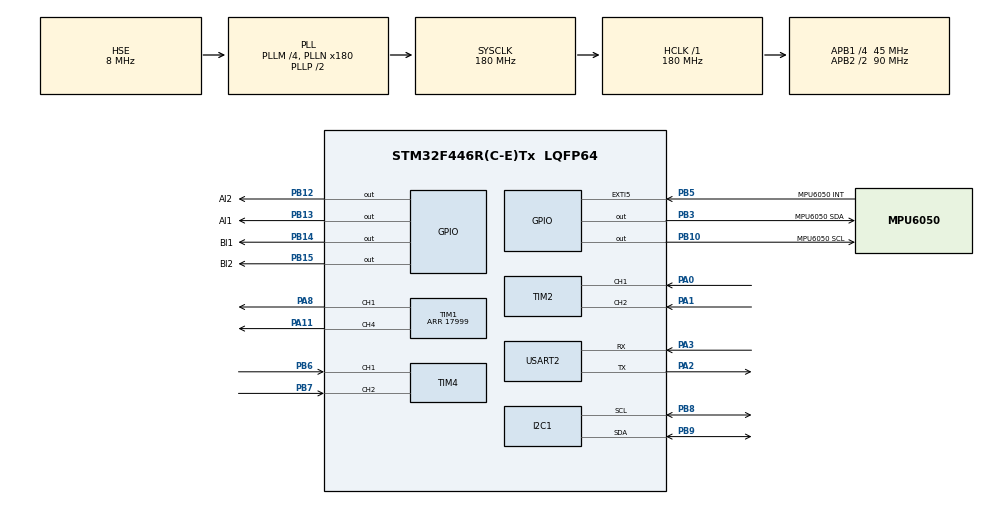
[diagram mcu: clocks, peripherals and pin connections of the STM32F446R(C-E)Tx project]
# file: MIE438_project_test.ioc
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I2C1.I2C_Mode=I2C_Standard
Mcu.Family=STM32F4
Mcu.Name=STM32F446R(C-E)Tx
Mcu.Package=LQFP64
NVIC.EXTI9_5_IRQn=true\:0\:0\:false\:false\:true\:true\:true\:true
NVIC.PriorityGroup=NVIC_PRIORITYGROUP_4
PA0-WKUP.Signal=S_TIM2_CH1_ETR
PA1.Signal=S_TIM2_CH2
PA11.Signal=S_TIM1_CH4
PA13.Mode=Serial_Wire
PA13.Signal=SYS_JTMS-SWDIO
PA14.Mode=Serial_Wire
PA14.Signal=SYS_JTCK-SWCLK
PA2.Mode=Asynchronous
PA2.Signal=USART2_TX
PA3.Mode=Asynchronous
PA3.Signal=USART2_RX
PA8.Signal=S_TIM1_CH1
PB10.GPIO_Label=MPU6050 SCL
PB10.GPIO_ModeDefaultOutputPP=GPIO_MODE_OUTPUT_OD
PB10.GPIO_PuPd=GPIO_PULLUP
PB10.GPIO_Speed=GPIO_SPEED_FREQ_HIGH
PB10.Signal=GPIO_Output
PB12.GPIO_Label=AI2
PB12.Signal=GPIO_Output
PB13.GPIO_Label=AI1
PB13.Signal=GPIO_Output
PB14.GPIO_Label=BI1
PB14.Signal=GPIO_Output
PB15.GPIO_Label=BI2
PB15.Signal=GPIO_Output
PB3.GPIO_Label=MPU6050 SDA
PB3.GPIO_ModeDefaultOutputPP=GPIO_MODE_OUTPUT_OD
PB3.GPIO_PuPd=GPIO_PULLUP
PB3.GPIO_Speed=GPIO_SPEED_FREQ_HIGH
PB3.Signal=GPIO_Output
PB5.GPIO_Label=MPU6050 INT
PB5.GPIO_ModeDefaultEXTI=GPIO_MODE_IT_FALLING
PB5.GPIO_PuPd=GPIO_PULLUP
PB5.Signal=GPXTI5
PB6.Signal=S_TIM4_CH1
PB7.Signal=S_TIM4_CH2
PB8.Mode=I2C
PB8.Signal=I2C1_SCL
PB9.Mode=I2C
PB9.Signal=I2C1_SDA
PH0-OSC_IN.Mode=HSE-External-Clock-Source
PH0-OSC_IN.Signal=RCC_OSC_IN
PH1-OSC_OUT.Mode=HSE-External-Clock-Source
PH1-OSC_OUT.Signal=RCC_OSC_OUT
ProjectManager.HeapSize=0x200
ProjectManager.StackSize=0x400
ProjectManager.TargetToolchain=STM32CubeIDE
RCC.AHBFreq_Value=180000000
RCC.APB1CLKDivider=RCC_HCLK_DIV4
RCC.APB1Freq_Value=45000000
RCC.APB1TimFreq_Value=90000000
RCC.APB2CLKDivider=RCC_HCLK_DIV2
RCC.APB2Freq_Value=90000000
RCC.APB2TimFreq_Value=180000000
RCC.CortexFreq_Value=180000000
RCC.HCLKFreq_Value=180000000
RCC.HSE_VALUE=8000000
RCC.PLLM=4
RCC.PLLN=180
RCC.PLLSourceVirtual=RCC_PLLSOURCE_HSE
RCC.SYSCLKFreq_VALUE=180000000
RCC.SYSCLKSource=RCC_SYSCLKSOURCE_PLLCLK
RCC.USBFreq_Value=180000000
RCC.VCOOutputFreq_Value=360000000
SH.S_TIM1_CH1.0=TIM1_CH1,PWM Generation1 CH1
SH.S_TIM1_CH4.0=TIM1_CH4,PWM Generation4 CH4
SH.S_TIM2_CH1_ETR.0=TIM2_CH1,Encoder_Interface
SH.S_TIM2_CH2.0=TIM2_CH2,Encoder_Interface
SH.S_TIM4_CH1.0=TIM4_CH1,Encoder_Interface
SH.S_TIM4_CH2.0=TIM4_CH2,Encoder_Interface
TIM1.Channel-PWM\ Generation1\ CH1=TIM_CHANNEL_1
TIM1.Channel-PWM\ Generation4\ CH4=TIM_CHANNEL_4
TIM1.Period=17999
TIM1.Pulse-PWM\ Generation1\ CH1=18000
TIM1.Pulse-PWM\ Generation4\ CH4=18000
TIM2.EncoderMode=TIM_ENCODERMODE_TI12
TIM4.EncoderMode=TIM_ENCODERMODE_TI12
USART2.VirtualMode=VM_ASYNC
board=custom

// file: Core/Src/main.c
/* USER CODE BEGIN Header */
/**
  ******************************************************************************
  * @file           : main.c
  * @brief          : Main program body
  ******************************************************************************
  * @attention
  *
  * Copyright (c) 2026 STMicroelectronics.
  * All rights reserved.
  *
  * This software is licensed under terms that can be found in the LICENSE file
  * in the root directory of this software component.
  * If no LICENSE file comes with this software, it is provided AS-IS.
  *
  ******************************************************************************
  */
/* USER CODE END Header */
#include "main.h"

/* USER CODE BEGIN Includes */
#include "motor.h"
#include "pid.h"
#include "encoder.h"
#include <stdio.h>
#include <math.h>

/* USER CODE END Includes */

I2C_HandleTypeDef hi2c1;

TIM_HandleTypeDef htim1;
TIM_HandleTypeDef htim2;
TIM_HandleTypeDef htim4;

UART_HandleTypeDef huart2;

/* USER CODE BEGIN PV */

float pitch, roll, yaw;
/* USER CODE END PV */

void SystemClock_Config(void);
static void MX_GPIO_Init(void);
static void MX_TIM1_Init(void);
static void MX_TIM2_Init(void);
static void MX_TIM4_Init(void);
static void MX_USART2_UART_Init(void);
static void MX_I2C1_Init(void);

/* USER CODE BEGIN 0 */
int __io_putchar(int ch)
{
    HAL_UART_Transmit(&huart2, (uint8_t *)&ch, 1, HAL_MAX_DELAY);
    return ch;
}
/* USER CODE END 0 */

int main(void)
{

  /* MCU Configuration--------------------------------------------------------*/

  /* Reset of all peripherals, Initializes the Flash interface and the Systick. */
  HAL_Init();

  /* Configure the system clock */
  SystemClock_Config();

  /* Initialize all configured peripherals */
  MX_GPIO_Init();
  MX_TIM1_Init();
  MX_TIM2_Init();
  MX_TIM4_Init();
  MX_USART2_UART_Init();
  MX_I2C1_Init();
  /* USER CODE BEGIN 2 */
  /* USER CODE BEGIN 2 */

  printf("System Starting...\r\n");
  printf("PB8(SCL) = %d\r\n", HAL_GPIO_ReadPin(GPIOB, GPIO_PIN_8));
  printf("PB9(SDA) = %d\r\n", HAL_GPIO_ReadPin(GPIOB, GPIO_PIN_9));
  HAL_StatusTypeDef ret68 = HAL_I2C_IsDeviceReady(&hi2c1, (0x68 << 1), 3, 100);
  HAL_StatusTypeDef ret69 = HAL_I2C_IsDeviceReady(&hi2c1, (0x69 << 1), 3, 100);

  printf("0x68 ready status: %d\r\n", ret68);
  printf("0x69 ready status: %d\r\n", ret69);

  printf("start\r\n");

  uint8_t who = 0xFF;
  HAL_StatusTypeDef r1 = HAL_I2C_IsDeviceReady(&hi2c1, (0x68 << 1), 5, 100);
  HAL_StatusTypeDef r2 = HAL_I2C_IsDeviceReady(&hi2c1, (0x69 << 1), 5, 100);
  HAL_StatusTypeDef r3 = HAL_I2C_Mem_Read(&hi2c1, (0x68 << 1), 0x75,
                                          I2C_MEMADD_SIZE_8BIT, &who, 1, 100);

  printf("r1=%d r2=%d r3=%d who=0x%02X\r\n", r1, r2, r3, who);
  if (r3 != HAL_OK) {
      printf("I2C read failed, HAL error = 0x%08lX\r\n", HAL_I2C_GetError(&hi2c1));
  }

  uint8_t wake = 0;
  HAL_I2C_Mem_Write(&hi2c1, MPU_ADDR << 1, MPU_PWR_MGMT_1,
                    I2C_MEMADD_SIZE_8BIT, &wake, 1, 100);

  printf("MPU6050 woke up\r\n");

//  MPU_Init();
//  printf("MPU6050 Basic Init Done.\r\n");
//
//  uint8_t dmp_status = mpu_dmp_init();
//  printf("DMP Init Status: %d\r\n", dmp_status);

  Encoder_Init();
  /* USER CODE END 2 */

  /* Infinite loop */
  /* USER CODE BEGIN WHILE */

  while (1)
  {
      Control();

      static int debug_count = 0;
      debug_count++;

      if (debug_count >= 50)
      {
          debug_count = 0;

          printf("Pitch: %.2f\r\n", pitch);
          printf("Roll : %.2f\r\n", roll);
          printf("GyroY: %d\r\n", gyroy);
          printf("EncL : %d\r\n", Encoder_Left);
          printf("EncR : %d\r\n", Encoder_Right);
          printf("PWM1 : %d\r\n", MOTO1);
          printf("PWM2 : %d\r\n", MOTO2);
          printf("\r\n");
      }

      HAL_Delay(10);
  }

//  while (1)
//  {
//      Control();
//
//      static int debug_count = 0;
//      debug_count++;
//
//      if (debug_count >= 50)   // print every 50 * 10 ms = 500 ms
//      {
//          debug_count = 0;
//
//          int16_t ax = read16(MPU_ACCEL_XOUT_H);
//          int16_t ay = read16(MPU_ACCEL_XOUT_H + 2);
//          int16_t az = read16(MPU_ACCEL_XOUT_H + 4);
//
//          int16_t gx = read16(MPU_GYRO_XOUT_H);
//          int16_t gy = read16(MPU_GYRO_XOUT_H + 2);
//          int16_t gz = read16(MPU_GYRO_XOUT_H + 4);
//
//          float ax_g = ax / 16384.0f;
//          float ay_g = ay / 16384.0f;
//          float az_g = az / 16384.0f;
//
//          roll  = atan2f(ay_g, az_g) * 57.2958f;
//          pitch = atan2f(-ax_g, sqrtf(ay_g * ay_g + az_g * az_g)) * 57.2958f;
//
//          int32_t enc_left  = (int32_t)__HAL_TIM_GET_COUNTER(&htim2);
//          int32_t enc_right = (int32_t)__HAL_TIM_GET_COUNTER(&htim4);
//
//          printf("Accel: %.3f %.3f %.3f\r\n", ax_g, ay_g, az_g);
//          printf("Gyro : %d %d %d\r\n", gx, gy, gz);
//          printf("Roll : %.3f deg\r\n", roll);
//          printf("Pitch: %.3f deg\r\n", pitch);
//          printf("Encoder Left (TIM2) : %ld\r\n", enc_left);
//          printf("Encoder Right(TIM4) : %ld\r\n", enc_right);
//          printf("\r\n");
//      }
//
//      HAL_Delay(10);
//  }
//  while (1)
//  {
////	  Motor_A_Forward(9000);
////	  Motor_B_Forward(9000);
////	  HAL_Delay(2000);
////
////	  Motor_A_Backward(6000);
////	  Motor_B_Backward(6000);
//	  Control();
//	  HAL_Delay(10);
//
//      int16_t ax = read16(MPU_ACCEL_XOUT_H);
//      int16_t ay = read16(MPU_ACCEL_XOUT_H + 2);
//      int16_t az = read16(MPU_ACCEL_XOUT_H + 4);
//
//      int16_t gx = read16(MPU_GYRO_XOUT_H);
//      int16_t gy = read16(MPU_GYRO_XOUT_H + 2);
//      int16_t gz = read16(MPU_GYRO_XOUT_H + 4);
//
//      float ax_g = ax / 16384.0;
//      float ay_g = ay / 16384.0;
//      float az_g = az / 16384.0;
//
////      float roll  = atan2(ay_g, az_g) * 57.2958;
////      float pitch = atan2(-ax_g, sqrt(ay_g*ay_g + az_g*az_g)) * 57.2958;
//      roll  = atan2(ay_g, az_g) * 57.2958f;
//      pitch = atan2(-ax_g, sqrt(ay_g*ay_g + az_g*az_g)) * 57.2958f;
//
//      int32_t enc_left  = (int32_t)__HAL_TIM_GET_COUNTER(&htim2);
//      int32_t enc_right = (int32_t)__HAL_TIM_GET_COUNTER(&htim4);
//
//      printf("Accel: %f %f %f\r\n", ax_g, ay_g, az_g);
//      printf("Gyro : %d %d %d\r\n", gx, gy, gz);
//      printf("Roll : %f deg\r\n", roll);
//      printf("Pitch: %f deg\r\n", pitch);
//      printf("Encoder Left (TIM2) : %ld\r\n", enc_left);
//      printf("Encoder Right(TIM4) : %ld\r\n", enc_right);
//      printf("\r\n");
//
//      HAL_Delay(500);
//  }
//  while (1)
//  {
    /* USER CODE END WHILE */

    /* USER CODE BEGIN 3 */
//  }
  /* USER CODE END 3 */
}

void SystemClock_Config(void)
{
  RCC_OscInitTypeDef RCC_OscInitStruct = {0};
  RCC_ClkInitTypeDef RCC_ClkInitStruct = {0};

  /** Configure the main internal regulator output voltage
  */
  __HAL_RCC_PWR_CLK_ENABLE();
  __HAL_PWR_VOLTAGESCALING_CONFIG(PWR_REGULATOR_VOLTAGE_SCALE1);

  /** Initializes the RCC Oscillators according to the specified parameters
  * in the RCC_OscInitTypeDef structure.
  */
  RCC_OscInitStruct.OscillatorType = RCC_OSCILLATORTYPE_HSE;
  RCC_OscInitStruct.HSEState = RCC_HSE_BYPASS;
  RCC_OscInitStruct.PLL.PLLState = RCC_PLL_ON;
  RCC_OscInitStruct.PLL.PLLSource = RCC_PLLSOURCE_HSE;
  RCC_OscInitStruct.PLL.PLLM = 4;
  RCC_OscInitStruct.PLL.PLLN = 180;
  RCC_OscInitStruct.PLL.PLLP = RCC_PLLP_DIV2;
  RCC_OscInitStruct.PLL.PLLQ = 2;
  RCC_OscInitStruct.PLL.PLLR = 2;
  if (HAL_RCC_OscConfig(&RCC_OscInitStruct) != HAL_OK)
  {
    Error_Handler();
  }

  /** Activate the Over-Drive mode
  */
  if (HAL_PWREx_EnableOverDrive() != HAL_OK)
  {
    Error_Handler();
  }

  /** Initializes the CPU, AHB and APB buses clocks
  */
  RCC_ClkInitStruct.ClockType = RCC_CLOCKTYPE_HCLK|RCC_CLOCKTYPE_SYSCLK
                              |RCC_CLOCKTYPE_PCLK1|RCC_CLOCKTYPE_PCLK2;
  RCC_ClkInitStruct.SYSCLKSource = RCC_SYSCLKSOURCE_PLLCLK;
  RCC_ClkInitStruct.AHBCLKDivider = RCC_SYSCLK_DIV1;
  RCC_ClkInitStruct.APB1CLKDivider = RCC_HCLK_DIV4;
  RCC_ClkInitStruct.APB2CLKDivider = RCC_HCLK_DIV2;

  if (HAL_RCC_ClockConfig(&RCC_ClkInitStruct, FLASH_LATENCY_5) != HAL_OK)
  {
    Error_Handler();
  }
}

static void MX_I2C1_Init(void)
{

  hi2c1.Instance = I2C1;
  hi2c1.Init.ClockSpeed = 100000;
  hi2c1.Init.DutyCycle = I2C_DUTYCYCLE_2;
  hi2c1.Init.OwnAddress1 = 0;
  hi2c1.Init.AddressingMode = I2C_ADDRESSINGMODE_7BIT;
  hi2c1.Init.DualAddressMode = I2C_DUALADDRESS_DISABLE;
  hi2c1.Init.OwnAddress2 = 0;
  hi2c1.Init.GeneralCallMode = I2C_GENERALCALL_DISABLE;
  hi2c1.Init.NoStretchMode = I2C_NOSTRETCH_DISABLE;
  if (HAL_I2C_Init(&hi2c1) != HAL_OK)
  {
    Error_Handler();
  }

}

static void MX_TIM1_Init(void)
{

  TIM_MasterConfigTypeDef sMasterConfig = {0};
  TIM_OC_InitTypeDef sConfigOC = {0};
  TIM_BreakDeadTimeConfigTypeDef sBreakDeadTimeConfig = {0};

  htim1.Instance = TIM1;
  htim1.Init.Prescaler = 0;
  htim1.Init.CounterMode = TIM_COUNTERMODE_UP;
  htim1.Init.Period = 17999;
  htim1.Init.ClockDivision = TIM_CLOCKDIVISION_DIV1;
  htim1.Init.RepetitionCounter = 0;
  htim1.Init.AutoReloadPreload = TIM_AUTORELOAD_PRELOAD_DISABLE;
  if (HAL_TIM_PWM_Init(&htim1) != HAL_OK)
  {
    Error_Handler();
  }
  sMasterConfig.MasterOutputTrigger = TIM_TRGO_RESET;
  sMasterConfig.MasterSlaveMode = TIM_MASTERSLAVEMODE_DISABLE;
  if (HAL_TIMEx_MasterConfigSynchronization(&htim1, &sMasterConfig) != HAL_OK)
  {
    Error_Handler();
  }
  sConfigOC.OCMode = TIM_OCMODE_PWM1;
  sConfigOC.Pulse = 18000;
  sConfigOC.OCPolarity = TIM_OCPOLARITY_HIGH;
  sConfigOC.OCNPolarity = TIM_OCNPOLARITY_HIGH;
  sConfigOC.OCFastMode = TIM_OCFAST_DISABLE;
  sConfigOC.OCIdleState = TIM_OCIDLESTATE_RESET;
  sConfigOC.OCNIdleState = TIM_OCNIDLESTATE_RESET;
  if (HAL_TIM_PWM_ConfigChannel(&htim1, &sConfigOC, TIM_CHANNEL_1) != HAL_OK)
  {
    Error_Handler();
  }
  if (HAL_TIM_PWM_ConfigChannel(&htim1, &sConfigOC, TIM_CHANNEL_4) != HAL_OK)
  {
    Error_Handler();
  }
  sBreakDeadTimeConfig.OffStateRunMode = TIM_OSSR_DISABLE;
  sBreakDeadTimeConfig.OffStateIDLEMode = TIM_OSSI_DISABLE;
  sBreakDeadTimeConfig.LockLevel = TIM_LOCKLEVEL_OFF;
  sBreakDeadTimeConfig.DeadTime = 0;
  sBreakDeadTimeConfig.BreakState = TIM_BREAK_DISABLE;
  sBreakDeadTimeConfig.BreakPolarity = TIM_BREAKPOLARITY_HIGH;
  sBreakDeadTimeConfig.AutomaticOutput = TIM_AUTOMATICOUTPUT_DISABLE;
  if (HAL_TIMEx_ConfigBreakDeadTime(&htim1, &sBreakDeadTimeConfig) != HAL_OK)
  {
    Error_Handler();
  }
  HAL_TIM_MspPostInit(&htim1);

}

static void MX_TIM2_Init(void)
{

  TIM_Encoder_InitTypeDef sConfig = {0};
  TIM_MasterConfigTypeDef sMasterConfig = {0};

  htim2.Instance = TIM2;
  htim2.Init.Prescaler = 0;
  htim2.Init.CounterMode = TIM_COUNTERMODE_UP;
  htim2.Init.Period = 4294967295;
  htim2.Init.ClockDivision = TIM_CLOCKDIVISION_DIV1;
  htim2.Init.AutoReloadPreload = TIM_AUTORELOAD_PRELOAD_DISABLE;
  sConfig.EncoderMode = TIM_ENCODERMODE_TI12;
  sConfig.IC1Polarity = TIM_ICPOLARITY_RISING;
  sConfig.IC1Selection = TIM_ICSELECTION_DIRECTTI;
  sConfig.IC1Prescaler = TIM_ICPSC_DIV1;
  sConfig.IC1Filter = 0;
  sConfig.IC2Polarity = TIM_ICPOLARITY_RISING;
  sConfig.IC2Selection = TIM_ICSELECTION_DIRECTTI;
  sConfig.IC2Prescaler = TIM_ICPSC_DIV1;
  sConfig.IC2Filter = 0;
  if (HAL_TIM_Encoder_Init(&htim2, &sConfig) != HAL_OK)
  {
    Error_Handler();
  }
  sMasterConfig.MasterOutputTrigger = TIM_TRGO_RESET;
  sMasterConfig.MasterSlaveMode = TIM_MASTERSLAVEMODE_DISABLE;
  if (HAL_TIMEx_MasterConfigSynchronization(&htim2, &sMasterConfig) != HAL_OK)
  {
    Error_Handler();
  }

}

static void MX_TIM4_Init(void)
{

  TIM_Encoder_InitTypeDef sConfig = {0};
  TIM_MasterConfigTypeDef sMasterConfig = {0};

  htim4.Instance = TIM4;
  htim4.Init.Prescaler = 0;
  htim4.Init.CounterMode = TIM_COUNTERMODE_UP;
  htim4.Init.Period = 65535;
  htim4.Init.ClockDivision = TIM_CLOCKDIVISION_DIV1;
  htim4.Init.AutoReloadPreload = TIM_AUTORELOAD_PRELOAD_DISABLE;
  sConfig.EncoderMode = TIM_ENCODERMODE_TI12;
  sConfig.IC1Polarity = TIM_ICPOLARITY_RISING;
  sConfig.IC1Selection = TIM_ICSELECTION_DIRECTTI;
  sConfig.IC1Prescaler = TIM_ICPSC_DIV1;
  sConfig.IC1Filter = 0;
  sConfig.IC2Polarity = TIM_ICPOLARITY_RISING;
  sConfig.IC2Selection = TIM_ICSELECTION_DIRECTTI;
  sConfig.IC2Prescaler = TIM_ICPSC_DIV1;
  sConfig.IC2Filter = 0;
  if (HAL_TIM_Encoder_Init(&htim4, &sConfig) != HAL_OK)
  {
    Error_Handler();
  }
  sMasterConfig.MasterOutputTrigger = TIM_TRGO_RESET;
  sMasterConfig.MasterSlaveMode = TIM_MASTERSLAVEMODE_DISABLE;
  if (HAL_TIMEx_MasterConfigSynchronization(&htim4, &sMasterConfig) != HAL_OK)
  {
    Error_Handler();
  }

}

static void MX_USART2_UART_Init(void)
{

  huart2.Instance = USART2;
  huart2.Init.BaudRate = 115200;
  huart2.Init.WordLength = UART_WORDLENGTH_8B;
  huart2.Init.StopBits = UART_STOPBITS_1;
  huart2.Init.Parity = UART_PARITY_NONE;
  huart2.Init.Mode = UART_MODE_TX_RX;
  huart2.Init.HwFlowCtl = UART_HWCONTROL_NONE;
  huart2.Init.OverSampling = UART_OVERSAMPLING_16;
  if (HAL_UART_Init(&huart2) != HAL_OK)
  {
    Error_Handler();
  }

}

static void MX_GPIO_Init(void)
{
  GPIO_InitTypeDef GPIO_InitStruct = {0};

  /* GPIO Ports Clock Enable */
  __HAL_RCC_GPIOH_CLK_ENABLE();
  __HAL_RCC_GPIOA_CLK_ENABLE();
  __HAL_RCC_GPIOB_CLK_ENABLE();

  /*Configure GPIO pin Output Level */
  HAL_GPIO_WritePin(GPIOB, MPU6050_SCL_Pin|AI2_Pin|AI1_Pin|BI1_Pin
                          |BI2_Pin|MPU6050_SDA_Pin, GPIO_PIN_RESET);

  /*Configure GPIO pins : MPU6050_SCL_Pin MPU6050_SDA_Pin */
  GPIO_InitStruct.Pin = MPU6050_SCL_Pin|MPU6050_SDA_Pin;
  GPIO_InitStruct.Mode = GPIO_MODE_OUTPUT_OD;
  GPIO_InitStruct.Pull = GPIO_PULLUP;
  GPIO_InitStruct.Speed = GPIO_SPEED_FREQ_HIGH;
  HAL_GPIO_Init(GPIOB, &GPIO_InitStruct);

  /*Configure GPIO pins : AI2_Pin AI1_Pin BI1_Pin BI2_Pin */
  GPIO_InitStruct.Pin = AI2_Pin|AI1_Pin|BI1_Pin|BI2_Pin;
  GPIO_InitStruct.Mode = GPIO_MODE_OUTPUT_PP;
  GPIO_InitStruct.Pull = GPIO_NOPULL;
  GPIO_InitStruct.Speed = GPIO_SPEED_FREQ_LOW;
  HAL_GPIO_Init(GPIOB, &GPIO_InitStruct);

  /*Configure GPIO pin : MPU6050_INT_Pin */
  GPIO_InitStruct.Pin = MPU6050_INT_Pin;
  GPIO_InitStruct.Mode = GPIO_MODE_IT_FALLING;
  GPIO_InitStruct.Pull = GPIO_PULLUP;
  HAL_GPIO_Init(MPU6050_INT_GPIO_Port, &GPIO_InitStruct);

  /* EXTI interrupt init*/
  HAL_NVIC_SetPriority(EXTI9_5_IRQn, 0, 0);
  HAL_NVIC_EnableIRQ(EXTI9_5_IRQn);

}

void Error_Handler(void)
{
  __disable_irq();
  while (1)
  {
  }
}
